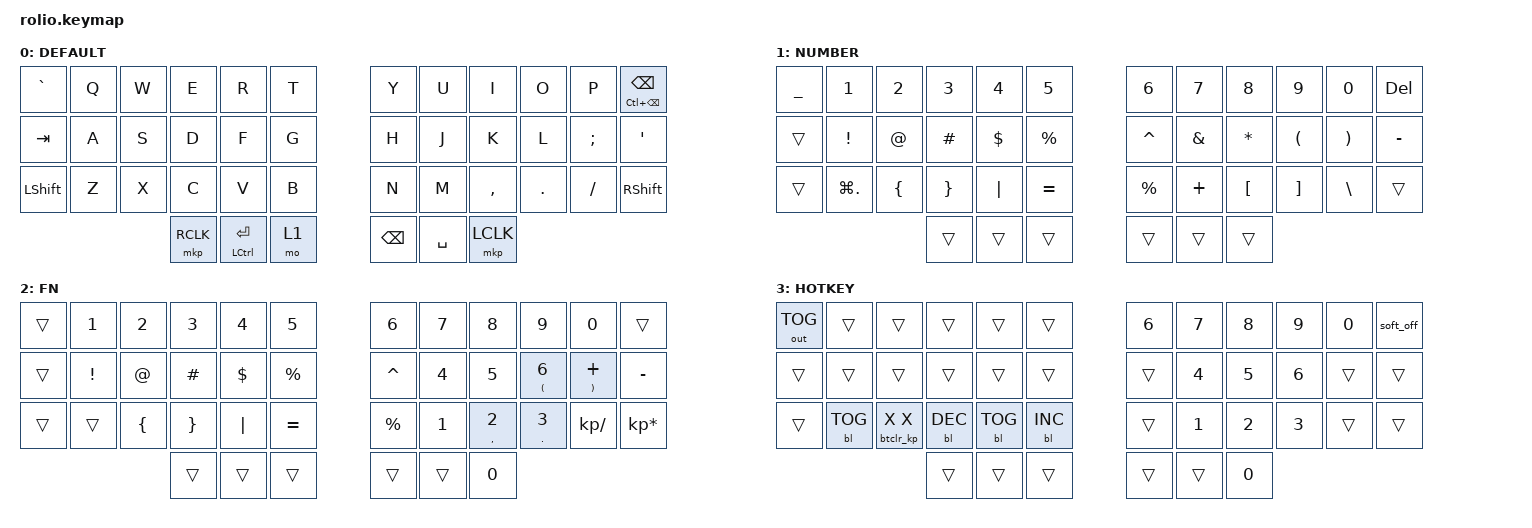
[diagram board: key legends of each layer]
/*
 * Copyright (c) 2023 The ZMK Contributors
 *
 * SPDX-License-Identifier: MIT
 */

#include <behaviors.dtsi>
#include <dt-bindings/zmk/keys.h>
#include <dt-bindings/zmk/bt.h>
#include <dt-bindings/zmk/outputs.h>
#include <dt-bindings/zmk/backlight.h>

#define ZMK_POINTING_DEFAULT_SCRL_VAL 100
#include <dt-bindings/zmk/pointing.h>

// Helpful macros borrowed from AndrewMSHowe
#define ___ &trans

// Layer numbers for use by the keymap & macros

#define DEFAULT 0
#define NUMBER  1
#define FN  2
#define HOTKEY  3



/ {

    keymap {
        compatible = "zmk,keymap";

        windows_default_layer {
            label = "DEFAULT";
            bindings = <
// ╭───────────────┬───────────────┬───────────────┬───────────────┬───────────────┬───────────────╮                                 ╭───────────────┬───────────────┬───────────────┬───────────────┬───────────────┬───────────────╮
       &kp GRAVE      &kp Q            &kp W           &kp E           &kp R           &kp T     /*|                                 |*/  &kp Y          &kp U           &kp I           &kp O           &kp P          &mt LC(BSPC) BSPC
       &kp TAB        &kp A            &kp S           &kp D           &kp F           &kp G     /*├─────────────╮     ╭─────────────┤*/  &kp H          &kp J           &kp K           &kp L           &kp SEMI       &kp SQT
       &kp LSHIFT     &kp Z            &kp X           &kp C           &kp V           &kp B                                              &kp N          &kp M           &kp COMMA       &kp DOT         &kp FSLH       &kp RSHFT
/* ╰───────────────┴───────────────┤*/                                 &mkp RCLK  &mt LCTRL RETURN  &mo 1              &kp BACKSPACE  &kp SPACE  &mkp LCLK     //├───────────────┴───────────────╯
//                                 ╰───────────────┴───────────────┴───────────────┴───────────────┴─────────────╯     ╰─────────────┴───────────────┴───────────────┴───────────────┴───────────────╯
            >;
        };

 

        windows_symbols_layer {
            label = "NUMBER";
            bindings = <
// ╭───────────────┬───────────────┬───────────────┬───────────────┬───────────────┬───────────────╮                                 ╭───────────────┬───────────────┬───────────────┬───────────────┬───────────────┬───────────────╮
       &kp UNDER       &kp N1          &kp N2          &kp N3          &kp N4          &kp N5    /*|                                 |*/  &kp N6         &kp N7          &kp N8          &kp N9          &kp N0          &kp DEL
       ___             &kp EXCL        &kp AT          &kp HASH        &kp DLLR        &kp PRCNT /*├─────────────╮     ╭─────────────┤*/  &kp CARET      &kp AMPERSAND   &kp STAR        &kp LPAR        &kp RPAR        &kp MINUS
       ___             &kp LG(DOT)     &kp LEFT_BRACE  &kp RIGHT_BRACE &kp PIPE        &kp EQUAL                                          &kp PRCNT      &kp PLUS        &kp LBKT        &kp RBKT        &kp BACKSLASH   ___
/* ╰───────────────┴───────────────┤*/                                 ___             ___             ___                 ___            ___            ___                   //├───────────────┴───────────────╯
//                                 ╰───────────────┴───────────────┴───────────────┴───────────────┴─────────────╯     ╰─────────────┴───────────────┴───────────────┴───────────────┴───────────────╯
            >;
        };

        numpad_layer {
            label = "FN";
            
            bindings = <
// ╭───────────────┬───────────────┬───────────────┬───────────────┬───────────────┬───────────────╮                                 ╭───────────────┬───────────────┬───────────────┬───────────────┬───────────────┬───────────────╮
       ___             &kp N1          &kp N2          &kp N3          &kp N4          &kp N5    /*|                                 |*/    &kp N6         &kp N7          &kp N8          &kp N9          &kp N0          ___ 
       ___             &kp EXCL        &kp AT          &kp HASH        &kp DLLR        &kp PRCNT /*├─────────────╮     ╭─────────────┤*/  &kp CARET      &kp N4          &kp N5          &mt LPAR N6     &mt RPAR PLUS   &kp MINUS
       ___             ___             &kp LEFT_BRACE  &kp RIGHT_BRACE &kp PIPE        &kp EQUAL                                          &kp PRCNT      &kp N1          &mt COMMA N2    &mt DOT N3      &kp KP_DIVIDE   &kp KP_MULTIPLY
/* ╰───────────────┴───────────────┤*/                                 ___             ___             ___                 ___            ___    &kp N0                //├───────────────┴───────────────╯
//                                 ╰───────────────┴───────────────┴───────────────┴───────────────┴─────────────╯     ╰─────────────┴───────────────┴───────────────┴───────────────┴───────────────╯
            >;
      };



      settings_layer {
            label = "HOTKEY";
            bindings = <
// ╭───────────────┬───────────────┬───────────────┬───────────────┬───────────────┬────────────────╮                                 ╭───────────────┬───────────────┬───────────────┬───────────────┬───────────────┬───────────────╮
      &out OUT_TOG     ___     ___      ___     ___      ___ /*|                                 |*/   &kp N6         &kp N7          &kp N8          &kp N9          &kp N0          &soft_off
      ___              ___             ___             ___             ___             ___        /*├─────────────╮     ╭─────────────┤*/   ___            &kp N4          &kp N5          &kp N6          ___             ___
      ___              &bl BL_TOG      &btclr_kp X X   &bl BL_DEC      &bl BL_TOG      &bl BL_INC                                           ___            &kp N1          &kp N2          &kp N3          ___             ___
/* ╰───────────────┴───────────────┤*/                                    ___              ___         ___                  ___             ___            &kp N0                //├───────────────┴───────────────╯
//                                 ╰───────────────┴───────────────┴───────────────┴────────────────┴─────────────╯     ╰─────────────┴───────────────┴───────────────┴───────────────┴───────────────╯   
            >;
        };

    

    };

};
